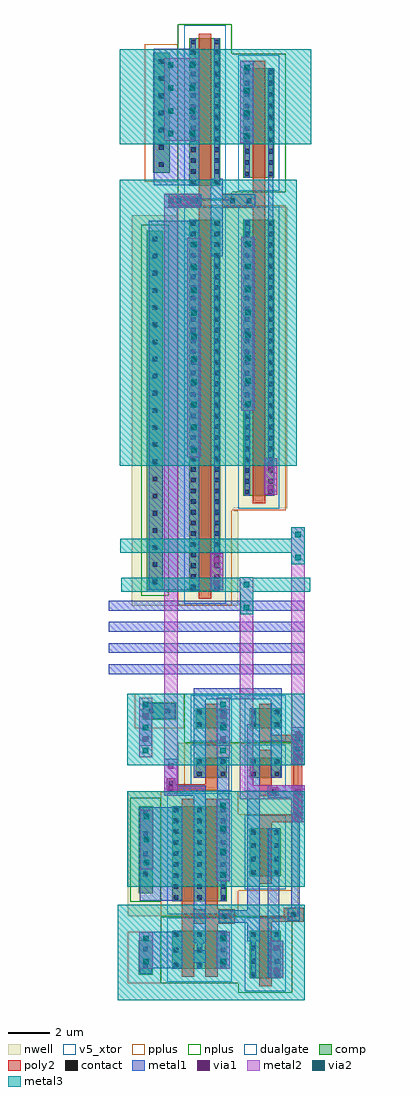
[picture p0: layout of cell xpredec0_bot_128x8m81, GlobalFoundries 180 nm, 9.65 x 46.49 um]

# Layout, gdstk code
import gdstk
lib = gdstk.Library(unit=1e-6, precision=1e-09)
def R(c, l, rs):  # rectangles x0, y0, x1, y1
    for r in rs: c.add(gdstk.rectangle(r[:2], r[2:], *l))
def A(c, l, x, y, w, h, nx, ny, dx, dy):  # array of equal rectangles
    R(c, l, [(x+i*dx, y+j*dy, x+i*dx+w, y+j*dy+h) for i in range(nx) for j in range(ny)])
def P(c, l, *ps):  # polygons
    for p in ps: c.add(gdstk.Polygon(p, *l))
nwell = (21, 0)
comp = (22, 0)
poly2 = (30, 0)
pplus = (31, 0)
nplus = (32, 0)
contact = (33, 0)
metal1 = (34, 0)
via1 = (35, 0)
metal2 = (36, 0)
via2 = (38, 0)
metal3 = (42, 0)
dualgate = (55, 0)
v5_xtor = (112, 1)

m2_m1__34864172_128x8m81 = lib.new_cell('M2_M1$$34864172_128x8m81')
R(m2_m1__34864172_128x8m81, metal1, [(-0.85,-0.33,0.85,0.335)])
R(m2_m1__34864172_128x8m81, via1, [(-0.66,-0.13,-0.4,0.13), (0.4,-0.13,0.66,0.13)])
R(m2_m1__34864172_128x8m81, metal2, [(-0.845,-0.33,0.85,0.335)])

m1_poly2__46559276_128x8 = lib.new_cell('M1_POLY2$$46559276_128x8m81_0')
R(m1_poly2__46559276_128x8, poly2, [(-0.88,-0.345,0.88,0.345)])
R(m1_poly2__46559276_128x8, contact, [(-0.505,-0.11,-0.285,0.11), (0.285,-0.11,0.505,0.11)])
R(m1_poly2__46559276_128x8, metal1, [(-0.685,-0.3,0.685,0.3)])

m3_m2__47333420_128x8m81 = lib.new_cell('M3_M2$$47333420_128x8m81')
R(m3_m2__47333420_128x8m81, metal2, [(-0.32,-1.965,0.32,1.96)])
A(m3_m2__47333420_128x8m81, via2, -0.13, -1.765, 0.26, 0.26, 1, 4, 0, 1.09)
R(m3_m2__47333420_128x8m81, metal3, [(-0.325,-1.965,0.325,1.965)])

m2_m1__43379756_128x8m81 = lib.new_cell('M2_M1$$43379756_128x8m81')
R(m2_m1__43379756_128x8m81, metal1, [(-0.32,-1.965,0.32,1.965)])
A(m2_m1__43379756_128x8m81, via1, -0.13, -1.765, 0.26, 0.26, 1, 4, 0, 1.09)
R(m2_m1__43379756_128x8m81, metal2, [(-0.32,-1.965,0.32,1.96)])

m1_poly24310590548732_12 = lib.new_cell('M1_POLY24310590548732_128x8m81')
R(m1_poly24310590548732_12, poly2, [(-0.21,-0.21,0.21,0.21)])
R(m1_poly24310590548732_12, contact, [(-0.11,-0.11,0.11,0.11)])
R(m1_poly24310590548732_12, metal1, [(-0.17,-0.17,0.17,0.17)])

nmos_5p0431059054878_128 = lib.new_cell('nmos_5p0431059054878_128x8m81')
R(nmos_5p0431059054878_128, comp, [(-0.44,0,1.04,0.96), (-0.44,0,-0.08,0.96), (0.68,0,1.04,0.96)])
R(nmos_5p0431059054878_128, poly2, [(0,-0.22,0.6,1.18), (0,0.96,0.6,1.18)])
R(nmos_5p0431059054878_128, nplus, [(-0.6,-0.23,1.2,1.19)])
R(nmos_5p0431059054878_128, contact, [(-0.37,0.07,-0.15,0.29), (0.75,0.07,0.97,0.29), (-0.37,0.67,-0.15,0.89), (0.75,0.67,0.97,0.89)])
R(nmos_5p0431059054878_128, metal1, [(-0.375,0,-0.145,0.96), (-0.375,0,-0.145,0.96), (0.745,0,0.975,0.96), (0.745,0,0.975,0.96)])
R(nmos_5p0431059054878_128, dualgate, [(-0.68,-0.62,1.28,1.58)])
R(nmos_5p0431059054878_128, v5_xtor, [(-0.68,-0.62,1.28,1.58)])
nmos_5p0431059054878_128.add(gdstk.Label('S', (-0.26,0.48), layer=34, texttype=0))
nmos_5p0431059054878_128.add(gdstk.Label('D', (0.86,0.48), layer=34, texttype=0))

m2_m1__43379756_153_128x = lib.new_cell('M2_M1$$43379756_153_128x8m81')
R(m2_m1__43379756_153_128x, metal1, [(-0.32,-1.965,0.32,1.965)])
A(m2_m1__43379756_153_128x, via1, -0.13, -1.765, 0.26, 0.26, 1, 4, 0, 1.09)
R(m2_m1__43379756_153_128x, metal2, [(-0.32,-1.965,0.32,1.965)])

pmos_5p04310590548762_12 = lib.new_cell('pmos_5p04310590548762_128x8m81')
R(pmos_5p04310590548762_12, nwell, [(-1.04,-0.6,2.76,5.14)])
A(pmos_5p04310590548762_12, comp, -0.44, 0, 0.36, 4.54, 3, 1, 1.12, 0)
R(pmos_5p04310590548762_12, comp, [(-0.44,0,2.16,4.54)])
R(pmos_5p04310590548762_12, poly2, [(0,-0.22,0.6,4.76), (1.12,-0.22,1.72,4.76), (0,4.54,0.6,4.76), (1.12,4.54,1.72,4.76)])
R(pmos_5p04310590548762_12, pplus, [(-0.6,-0.23,2.32,4.77)])
A(pmos_5p04310590548762_12, contact, -0.37, 0.07, 0.22, 0.22, 3, 5, 1.12, 0.525)
A(pmos_5p04310590548762_12, contact, -0.37, 2.69, 0.22, 0.22, 3, 4, 1.12, 0.52)
R(pmos_5p04310590548762_12, metal1, [(-0.375,0,-0.145,4.54), (-0.375,0,-0.145,4.54), (0.745,0,0.975,4.54), (0.745,0,0.975,4.54), (1.865,0,2.095,4.54), (1.865,0,2.095,4.54)])
R(pmos_5p04310590548762_12, dualgate, [(-0.68,-0.62,2.4,5.16)])
R(pmos_5p04310590548762_12, v5_xtor, [(-0.68,-0.62,2.4,5.16)])
pmos_5p04310590548762_12.add(gdstk.Label('S', (-0.26,2.27), layer=34, texttype=0))
pmos_5p04310590548762_12.add(gdstk.Label('S', (1.98,2.27), layer=34, texttype=0))
pmos_5p04310590548762_12.add(gdstk.Label('D', (0.86,2.27), layer=34, texttype=0))

pmos_1p2__47331372_128x8 = lib.new_cell('pmos_1p2$$47331372_128x8m81')
R(pmos_1p2__47331372_128x8, nwell, [(-1.43,-0.71,2.84,5.24)])
R(pmos_1p2__47331372_128x8, poly2, [(-0.15,-0.37,0.44,-0.005), (0.97,-0.37,1.56,-0.005), (-0.15,4.535,0.44,4.895), (0.97,4.535,1.56,4.895)])
R(pmos_1p2__47331372_128x8, pplus, [(-1.14,-0.685,2.55,5.22)])
pmos_1p2__47331372_128x8.add(gdstk.Reference(pmos_5p04310590548762_12, (-0.155,0)))

m2_m1__43375660_154_128x = lib.new_cell('M2_M1$$43375660_154_128x8m81')
R(m2_m1__43375660_154_128x, metal1, [(-0.315,-0.88,0.32,0.875)])
R(m2_m1__43375660_154_128x, via1, [(-0.13,-0.675,0.13,-0.415), (-0.13,0.415,0.13,0.675)])
R(m2_m1__43375660_154_128x, metal2, [(-0.315,-0.88,0.32,0.875)])

m3_m2__47108140_149_128x = lib.new_cell('M3_M2$$47108140_149_128x8m81')
R(m3_m2__47108140_149_128x, metal2, [(-0.315,-1.42,0.32,1.42)])
A(m3_m2__47108140_149_128x, via2, -0.13, -1.22, 0.26, 0.26, 1, 3, 0, 1.09)
R(m3_m2__47108140_149_128x, metal3, [(-0.325,-1.42,0.325,1.42)])

m3_m2__43368492_151_128x = lib.new_cell('M3_M2$$43368492_151_128x8m81')
R(m3_m2__43368492_151_128x, metal2, [(-0.32,-0.88,0.32,0.875)])
R(m3_m2__43368492_151_128x, via2, [(-0.13,-0.675,0.13,-0.415), (-0.13,0.415,0.13,0.675)])
R(m3_m2__43368492_151_128x, metal3, [(-0.325,-0.88,0.325,0.88)])

m1_psub__45110316_128x8m = lib.new_cell('M1_PSUB$$45110316_128x8m81')
R(m1_psub__45110316_128x8m, comp, [(-0.79,-0.415,0.795,0.41)])
R(m1_psub__45110316_128x8m, pplus, [(-1.185,-0.82,1.19,0.82)])
R(m1_psub__45110316_128x8m, contact, [(-0.505,-0.11,-0.285,0.11), (0.285,-0.11,0.505,0.11)])
P(m1_psub__45110316_128x8m, metal1, [(-0.75,-0.37),(-0.75,0.095),(-0.745,0.095),(-0.745,0.365),(0.75,0.365),(0.75,-0.37)])

m3_m2__47333420_150_128x = lib.new_cell('M3_M2$$47333420_150_128x8m81')
R(m3_m2__47333420_150_128x, metal2, [(-0.32,-1.965,0.32,1.965)])
A(m3_m2__47333420_150_128x, via2, -0.13, -1.765, 0.26, 0.26, 1, 4, 0, 1.09)
R(m3_m2__47333420_150_128x, metal3, [(-0.325,-1.965,0.325,1.965)])

m1_poly2__44753964_155_1 = lib.new_cell('M1_POLY2$$44753964_155_128x8m81')
R(m1_poly2__44753964_155_1, poly2, [(-0.48,-0.345,0.485,0.34)])
R(m1_poly2__44753964_155_1, contact, [(-0.11,-0.11,0.11,0.11)])
R(m1_poly2__44753964_155_1, metal1, [(-0.285,-0.3,0.29,0.295)])

pmos_5p04310590548714_12 = lib.new_cell('pmos_5p04310590548714_128x8m81')
R(pmos_5p04310590548714_12, nwell, [(-1.04,-0.6,1.64,2.87)])
R(pmos_5p04310590548714_12, comp, [(-0.44,0,1.04,2.27), (-0.44,0,-0.08,2.27), (0.68,0,1.04,2.27)])
R(pmos_5p04310590548714_12, poly2, [(0,-0.22,0.6,2.49), (0,2.27,0.6,2.49)])
R(pmos_5p04310590548714_12, pplus, [(-0.6,-0.23,1.2,2.5)])
A(pmos_5p04310590548714_12, contact, -0.37, 0.71, 0.22, 0.22, 1, 3, 0, 0.635)
A(pmos_5p04310590548714_12, contact, 0.75, 0.71, 0.22, 0.22, 1, 3, 0, 0.635)
R(pmos_5p04310590548714_12, contact, [(-0.37,0.07,-0.15,0.29), (0.75,0.07,0.97,0.29)])
R(pmos_5p04310590548714_12, metal1, [(-0.375,0,-0.145,2.27), (-0.375,0,-0.145,2.27), (0.745,0,0.975,2.27), (0.745,0,0.975,2.27)])
R(pmos_5p04310590548714_12, dualgate, [(-0.68,-0.62,1.28,2.89)])
R(pmos_5p04310590548714_12, v5_xtor, [(-0.68,-0.62,1.28,2.89)])
pmos_5p04310590548714_12.add(gdstk.Label('S', (-0.26,1.135), layer=34, texttype=0))
pmos_5p04310590548714_12.add(gdstk.Label('D', (0.86,1.135), layer=34, texttype=0))

pmos_1p2__46285868_160_1 = lib.new_cell('pmos_1p2$$46285868_160_128x8m81')
R(pmos_1p2__46285868_160_1, nwell, [(-1.43,-0.71,1.72,2.975)])
R(pmos_1p2__46285868_160_1, poly2, [(-0.155,-0.37,0.44,-0.005), (-0.155,2.27,0.44,2.635)])
R(pmos_1p2__46285868_160_1, pplus, [(-1.145,-0.685,1.43,2.95)])
pmos_1p2__46285868_160_1.add(gdstk.Reference(pmos_5p04310590548714_12, (-0.155,0)))

nmos_5p04310590548710_12 = lib.new_cell('nmos_5p04310590548710_128x8m81')
R(nmos_5p04310590548710_12, comp, [(-0.44,0,1.04,2.27), (-0.44,0,-0.08,2.27), (0.68,0,1.04,2.27)])
R(nmos_5p04310590548710_12, poly2, [(0,-0.22,0.6,2.49), (0,2.27,0.6,2.49)])
R(nmos_5p04310590548710_12, nplus, [(-0.6,-0.23,1.2,2.5)])
A(nmos_5p04310590548710_12, contact, -0.37, 0.71, 0.22, 0.22, 1, 3, 0, 0.635)
A(nmos_5p04310590548710_12, contact, 0.75, 0.71, 0.22, 0.22, 1, 3, 0, 0.635)
R(nmos_5p04310590548710_12, contact, [(-0.37,0.07,-0.15,0.29), (0.75,0.07,0.97,0.29)])
R(nmos_5p04310590548710_12, metal1, [(-0.375,0,-0.145,2.27), (-0.375,0,-0.145,2.27), (0.745,0,0.975,2.27), (0.745,0,0.975,2.27)])
R(nmos_5p04310590548710_12, dualgate, [(-0.68,-0.62,1.28,2.89)])
R(nmos_5p04310590548710_12, v5_xtor, [(-0.68,-0.62,1.28,2.89)])
nmos_5p04310590548710_12.add(gdstk.Label('S', (-0.26,1.135), layer=34, texttype=0))
nmos_5p04310590548710_12.add(gdstk.Label('D', (0.86,1.135), layer=34, texttype=0))

nmos_1p2__46551084_157_1 = lib.new_cell('nmos_1p2$$46551084_157_128x8m81')
R(nmos_1p2__46551084_157_1, poly2, [(-0.155,-0.37,0.44,-0.005), (-0.155,2.27,0.44,2.635)])
R(nmos_1p2__46551084_157_1, nplus, [(-1.145,-0.685,1.43,2.95)])
nmos_1p2__46551084_157_1.add(gdstk.Reference(nmos_5p04310590548710_12, (-0.155,0)))

pmos_5p04310590548741_12 = lib.new_cell('pmos_5p04310590548741_128x8m81')
R(pmos_5p04310590548741_12, nwell, [(-1.04,-0.6,1.64,1.56)])
R(pmos_5p04310590548741_12, comp, [(-0.44,0,1.04,0.96), (-0.44,0,-0.08,0.96), (0.68,0,1.04,0.96)])
R(pmos_5p04310590548741_12, poly2, [(0,-0.22,0.6,1.18), (0,0.96,0.6,1.18)])
R(pmos_5p04310590548741_12, pplus, [(-0.6,-0.23,1.2,1.19)])
R(pmos_5p04310590548741_12, contact, [(-0.37,0.07,-0.15,0.29), (0.75,0.07,0.97,0.29), (-0.37,0.67,-0.15,0.89), (0.75,0.67,0.97,0.89)])
R(pmos_5p04310590548741_12, metal1, [(-0.375,0,-0.145,0.96), (-0.375,0,-0.145,0.96), (0.745,0,0.975,0.96), (0.745,0,0.975,0.96)])
R(pmos_5p04310590548741_12, dualgate, [(-0.68,-0.62,1.28,1.58)])
R(pmos_5p04310590548741_12, v5_xtor, [(-0.68,-0.62,1.28,1.58)])
pmos_5p04310590548741_12.add(gdstk.Label('S', (-0.26,0.48), layer=34, texttype=0))
pmos_5p04310590548741_12.add(gdstk.Label('D', (0.86,0.48), layer=34, texttype=0))

pmos_1p2__47330348_161_1 = lib.new_cell('pmos_1p2$$47330348_161_128x8m81')
R(pmos_1p2__47330348_161_1, nwell, [(-1.43,-0.705,1.72,1.61)])
R(pmos_1p2__47330348_161_1, poly2, [(-0.15,-0.365,0.44,0), (-0.155,0.955,0.44,1.11)])
R(pmos_1p2__47330348_161_1, pplus, [(-1.145,-0.68,1.43,1.63)])
pmos_1p2__47330348_161_1.add(gdstk.Reference(pmos_5p04310590548741_12, (-0.155,0)))

nmos_5p04310590548763_12 = lib.new_cell('nmos_5p04310590548763_128x8m81')
A(nmos_5p04310590548763_12, comp, -0.44, 0, 0.36, 1.82, 3, 1, 1.12, 0)
R(nmos_5p04310590548763_12, comp, [(-0.44,0,2.16,1.82)])
R(nmos_5p04310590548763_12, poly2, [(0,-0.22,0.6,2.04), (1.12,-0.22,1.72,2.04), (0,1.82,0.6,2.04), (1.12,1.82,1.72,2.04)])
R(nmos_5p04310590548763_12, nplus, [(-0.6,-0.23,2.32,2.05)])
A(nmos_5p04310590548763_12, contact, -0.37, 0.07, 0.22, 0.22, 3, 3, 1.12, 0.73)
R(nmos_5p04310590548763_12, metal1, [(-0.375,0,-0.145,1.82), (-0.375,0,-0.145,1.82), (0.745,0,0.975,1.82), (0.745,0,0.975,1.82), (1.865,0,2.095,1.82), (1.865,0,2.095,1.82)])
R(nmos_5p04310590548763_12, dualgate, [(-0.68,-0.62,2.4,2.44)])
R(nmos_5p04310590548763_12, v5_xtor, [(-0.68,-0.62,2.4,2.44)])
nmos_5p04310590548763_12.add(gdstk.Label('S', (-0.26,0.91), layer=34, texttype=0))
nmos_5p04310590548763_12.add(gdstk.Label('S', (1.98,0.91), layer=34, texttype=0))
nmos_5p04310590548763_12.add(gdstk.Label('D', (0.86,0.91), layer=34, texttype=0))

nmos_1p2__47329324_128x8 = lib.new_cell('nmos_1p2$$47329324_128x8m81')
R(nmos_1p2__47329324_128x8, poly2, [(-0.15,-0.37,0.44,-0.005), (0.97,-0.37,1.56,-0.005), (-0.15,1.815,0.44,2.18), (0.965,1.815,1.56,2.155)])
R(nmos_1p2__47329324_128x8, nplus, [(-1.14,-0.685,2.55,2.495)])
nmos_1p2__47329324_128x8.add(gdstk.Reference(nmos_5p04310590548763_12, (-0.155,0)))

m2_m1__43380780_152_128x = lib.new_cell('M2_M1$$43380780_152_128x8m81')
R(m2_m1__43380780_152_128x, metal1, [(-0.315,-1.42,0.325,1.42)])
A(m2_m1__43380780_152_128x, via1, -0.13, -1.22, 0.26, 0.26, 1, 3, 0, 1.09)
R(m2_m1__43380780_152_128x, metal2, [(-0.315,-1.42,0.325,1.42)])

m1_poly24310590548739_12 = lib.new_cell('M1_POLY24310590548739_128x8m81')
R(m1_poly24310590548739_12, poly2, [(-0.21,-0.445,0.21,0.445)])
R(m1_poly24310590548739_12, contact, [(-0.11,-0.345,0.11,-0.125), (-0.11,0.125,0.11,0.345)])
R(m1_poly24310590548739_12, metal1, [(-0.17,-0.405,0.17,0.405)])

alatch_128x8m81 = lib.new_cell('alatch_128x8m81')
R(alatch_128x8m81, nwell, [(0.02,3.985,1.795,9.93)])
P(alatch_128x8m81, nwell, [(2.435,3.985),(2.435,9.93),(2.44,9.93),(2.44,12.245),(8.15,12.245),(8.15,3.985)])
R(alatch_128x8m81, comp, [(0.55,1.195,1.215,2.835), (0.55,5.075,1.215,9.23)])
R(alatch_128x8m81, poly2, [(6.28,9.72,6.88,10.435), (3.71,11.695,4.31,12.79)])
P(alatch_128x8m81, poly2, [(1.875,9.98),(1.875,10.28),(3.71,10.28),(3.71,10.635),(4.31,10.635),(4.31,9.98)],
  [(2.59,3.44),(2.59,4.54),(3.19,4.54),(3.19,4.32),(3.71,4.32),(3.71,4.54),(4.31,4.54),(4.31,4.32),(5.12,4.32),(5.12,3.635),(4.31,3.635),(4.31,3.44),(3.71,3.44),(3.71,3.635),(3.19,3.635),(3.19,3.44)],
  [(6.28,3.28),(6.28,4.015),(7.445,4.015),(7.445,4.02),(7.93,4.02),(7.93,3.715),(6.88,3.715),(6.88,3.28)],
  [(6.28,8.315),(6.28,8.81),(7.91,8.81),(7.91,12.305),(6.28,12.305),(6.28,12.94),(6.88,12.94),(6.88,12.635),(8.33,12.635),(8.33,8.465),(6.88,8.465),(6.88,8.315)])
R(alatch_128x8m81, pplus, [(0.02,0.79,1.61,3.245)])
R(alatch_128x8m81, nplus, [(0.155,4.665,1.61,9.635), (2.725,12.26,5.295,14.58), (5.295,12.26,7.865,14.58)])
A(alatch_128x8m81, contact, 0.77, 6.85, 0.22, 0.22, 1, 3, 0, 0.965)
R(alatch_128x8m81, contact, [(0.77,1.5,0.99,1.72), (0.77,2.315,0.99,2.535), (0.77,5.89,0.99,6.11)])
R(alatch_128x8m81, metal1, [(3.16,1.765,3.74,2.365), (0.595,4.735,2.62,9.185), (7.845,12.01,8.425,12.61)])
P(alatch_128x8m81, metal1, [(5.73,2.805),(5.73,3.675),(5.725,3.675),(5.725,3.68),(4.35,3.68),(4.35,4.275),(5.73,4.275),(5.73,13.14),(6.31,13.14),(6.31,2.805)],
  [(4.275,8.77),(4.275,9.58),(4.28,9.58),(4.28,11.54),(4.86,11.54),(4.86,8.77)],
  [(7.815,3.76),(7.815,4.355),(7.82,4.355),(7.82,9.63),(6.7,9.63),(6.7,10.225),(8.22,10.225),(8.22,9.245),(8.45,9.245),(8.45,8.645),(8.22,8.645),(8.22,3.76)],
  [(3.16,2.695),(3.16,9.73),(1.795,9.73),(1.795,10.195),(2.4,10.195),(2.4,10.19),(3.74,10.19),(3.74,2.695)],
  [(6.7,1.06),(6.7,8.165),(7.25,8.165),(7.25,2.365),(7.375,2.365),(7.375,1.765),(7.25,1.765),(7.25,1.06)],
  [(0.595,1.24),(0.595,1.49),(0.59,1.49),(0.59,3.245),(2.62,3.245),(2.62,1.515),(1.17,1.515),(1.17,1.24)],
  [(3.16,10.58),(3.16,14.84),(7.36,14.84),(7.36,10.58),(6.85,10.58),(6.85,14.32),(3.74,14.32),(3.74,10.58)])
R(alatch_128x8m81, metal3, [(-0.45,-0.005,8.46,4.535), (-0.005,5.39,8.46,9.93), (-0.005,11.17,8.46,14.58)])
alatch_128x8m81.add(gdstk.Reference(m1_poly24310590548732_12, (2.085,10.34)))
alatch_128x8m81.add(gdstk.Reference(m1_poly24310590548732_12, (6.985,9.93)))
alatch_128x8m81.add(gdstk.Reference(nmos_5p0431059054878_128, (6.28,13.895), x_reflection=True))
alatch_128x8m81.add(gdstk.Reference(nmos_5p0431059054878_128, (3.71,13.895), x_reflection=True))
alatch_128x8m81.add(gdstk.Reference(m2_m1__43379756_153_128x, (4.57,7.615)))
alatch_128x8m81.add(gdstk.Reference(pmos_1p2__47331372_128x8, (2.745,4.695)))
alatch_128x8m81.add(gdstk.Reference(m2_m1__43375660_154_128x, (4.57,2.37)))
alatch_128x8m81.add(gdstk.Reference(m2_m1__43375660_154_128x, (0.88,12.98)))
alatch_128x8m81.add(gdstk.Reference(m2_m1__43375660_154_128x, (4.57,12.98)))
alatch_128x8m81.add(gdstk.Reference(m2_m1__43375660_154_128x, (0.89,2.37)))
alatch_128x8m81.add(gdstk.Reference(m2_m1__43375660_154_128x, (7.105,1.94)))
alatch_128x8m81.add(gdstk.Reference(m2_m1__43375660_154_128x, (8.135,9.35)))
alatch_128x8m81.add(gdstk.Reference(m2_m1__43375660_154_128x, (8.135,12.115)))
alatch_128x8m81.add(gdstk.Reference(m3_m2__47108140_149_128x, (4.57,12.98)))
alatch_128x8m81.add(gdstk.Reference(m3_m2__47108140_149_128x, (0.88,12.98)))
alatch_128x8m81.add(gdstk.Reference(m3_m2__47108140_149_128x, (0.91,7.64)))
alatch_128x8m81.add(gdstk.Reference(m3_m2__43368492_151_128x, (0.89,2.37)))
alatch_128x8m81.add(gdstk.Reference(m3_m2__43368492_151_128x, (4.57,2.37)))
alatch_128x8m81.add(gdstk.Reference(m1_psub__45110316_128x8m, (1.535,13.76)))
alatch_128x8m81.add(gdstk.Reference(m3_m2__47333420_150_128x, (4.57,7.615)))
alatch_128x8m81.add(gdstk.Reference(m1_poly2__44753964_155_1, (7.93,4.06)))
alatch_128x8m81.add(gdstk.Reference(m1_poly2__44753964_155_1, (4.635,3.98)))
alatch_128x8m81.add(gdstk.Reference(pmos_1p2__46285868_160_1, (6.435,5.895)))
alatch_128x8m81.add(gdstk.Reference(nmos_1p2__46551084_157_1, (6.435,1.02)))
alatch_128x8m81.add(gdstk.Reference(pmos_1p2__47330348_161_1, (3.865,11.54), x_reflection=True))
alatch_128x8m81.add(gdstk.Reference(pmos_1p2__47330348_161_1, (6.435,11.54), x_reflection=True))
alatch_128x8m81.add(gdstk.Reference(nmos_1p2__47329324_128x8, (2.745,1.475)))
alatch_128x8m81.add(gdstk.Reference(m2_m1__43380780_152_128x, (0.91,7.64)))
alatch_128x8m81.add(gdstk.Reference(m1_poly24310590548739_12, (8.12,12.195)))
alatch_128x8m81.add(gdstk.Label('vss', (1.01,12.92), layer=42, texttype=10))
alatch_128x8m81.add(gdstk.Label('vss', (0.66,1.835), layer=42, texttype=10))
alatch_128x8m81.add(gdstk.Label('vdd', (0.78,7.49), layer=42, texttype=10))
alatch_128x8m81.add(gdstk.Label('enb', (8.135,12.31), layer=34, texttype=10))
alatch_128x8m81.add(gdstk.Label('en', (8.16,8.945), layer=34, texttype=10))
alatch_128x8m81.add(gdstk.Label('ab', (3.45,2.065), layer=34, texttype=10))
alatch_128x8m81.add(gdstk.Label('a', (7.08,2.065), layer=34, texttype=10))

m3_m2__43368492_128x8m81 = lib.new_cell('M3_M2$$43368492_128x8m81_0')
R(m3_m2__43368492_128x8m81, metal2, [(-0.315,-0.875,0.31,0.88)])
R(m3_m2__43368492_128x8m81, via2, [(-0.13,-0.675,0.13,-0.415), (-0.13,0.415,0.13,0.675)])
R(m3_m2__43368492_128x8m81, metal3, [(-0.315,-0.88,0.315,0.88)])

pmos_5p04310590548767_12 = lib.new_cell('pmos_5p04310590548767_128x8m81')
R(pmos_5p04310590548767_12, nwell, [(-1.04,-0.6,1.64,13.76)])
R(pmos_5p04310590548767_12, comp, [(-0.44,0,1.04,13.16), (-0.44,0,-0.08,13.16), (0.68,0,1.04,13.16)])
R(pmos_5p04310590548767_12, poly2, [(0,-0.22,0.6,13.38), (0,13.16,0.6,13.38)])
R(pmos_5p04310590548767_12, pplus, [(-0.6,-0.23,1.2,13.39)])
A(pmos_5p04310590548767_12, contact, -0.37, 0.07, 0.22, 0.22, 1, 11, 0, 0.515)
A(pmos_5p04310590548767_12, contact, 0.75, 0.07, 0.22, 0.22, 1, 11, 0, 0.515)
A(pmos_5p04310590548767_12, contact, -0.37, 5.73, 0.22, 0.22, 1, 15, 0, 0.51)
A(pmos_5p04310590548767_12, contact, 0.75, 5.73, 0.22, 0.22, 1, 15, 0, 0.51)
R(pmos_5p04310590548767_12, metal1, [(-0.375,0,-0.145,13.16), (-0.375,0,-0.145,13.16), (0.745,0,0.975,13.16), (0.745,0,0.975,13.16)])
R(pmos_5p04310590548767_12, dualgate, [(-0.68,-0.62,1.28,13.78)])
R(pmos_5p04310590548767_12, v5_xtor, [(-0.68,-0.62,1.28,13.78)])
pmos_5p04310590548767_12.add(gdstk.Label('S', (-0.26,6.58), layer=34, texttype=0))
pmos_5p04310590548767_12.add(gdstk.Label('D', (0.86,6.58), layer=34, texttype=0))

pmos_1p2__47504428_128x8 = lib.new_cell('pmos_1p2$$47504428_128x8m81')
R(pmos_1p2__47504428_128x8, nwell, [(-1.43,-0.71,1.715,-0.705)])
R(pmos_1p2__47504428_128x8, poly2, [(-0.155,-0.365,0.44,-0.005), (-0.155,13.155,0.44,13.515)])
R(pmos_1p2__47504428_128x8, pplus, [(-1.145,-0.685,1.43,13.835)])
pmos_1p2__47504428_128x8.add(gdstk.Reference(pmos_5p04310590548767_12, (-0.155,0)))

m1_psub__47335468_128x8m = lib.new_cell('M1_PSUB$$47335468_128x8m81')
R(m1_psub__47335468_128x8m, comp, [(-0.395,-2.86,0.4,2.86)])
R(m1_psub__47335468_128x8m, pplus, [(-0.79,-3.27,0.795,3.27)])
A(m1_psub__47335468_128x8m, contact, -0.11, -0.925, 0.22, 0.22, 1, 3, 0, 0.815)
R(m1_psub__47335468_128x8m, contact, [(-0.11,-2.56,0.11,-2.34), (-0.11,-1.745,0.11,-1.525), (-0.11,1.525,0.11,1.745), (-0.11,2.34,0.11,2.56)])
R(m1_psub__47335468_128x8m, metal1, [(-0.35,-2.815,0.355,2.815)])

m1_nwell__47505452_128x8 = lib.new_cell('M1_NWELL$$47505452_128x8m81')
R(m1_nwell__47505452_128x8, nwell, [(-1.105,-9.3,1.105,9.3)])
R(m1_nwell__47505452_128x8, comp, [(-0.39,-8.56,0.385,8.565)])
P(m1_nwell__47505452_128x8, nplus, [(-0.65,-8.835),(-0.65,7.49),(-0.655,7.49),(-0.655,8.835),(0.65,8.835),(0.65,-8.835)])
A(m1_nwell__47505452_128x8, contact, -0.11, -7.455, 0.22, 0.22, 1, 4, 0, 0.815)
A(m1_nwell__47505452_128x8, contact, -0.11, -4.19, 0.22, 0.22, 1, 4, 0, 0.815)
A(m1_nwell__47505452_128x8, contact, -0.11, -0.925, 0.22, 0.22, 1, 3, 0, 0.815)
A(m1_nwell__47505452_128x8, contact, -0.11, 1.525, 0.22, 0.22, 1, 4, 0, 0.815)
A(m1_nwell__47505452_128x8, contact, -0.11, 4.79, 0.22, 0.22, 1, 4, 0, 0.815)
R(m1_nwell__47505452_128x8, contact, [(-0.11,-8.275,0.11,-8.055), (-0.11,8.055,0.11,8.275)])
R(m1_nwell__47505452_128x8, metal1, [(-0.29,-8.46,0.29,8.46)])

m3_m2__47645740_128x8m81 = lib.new_cell('M3_M2$$47645740_128x8m81')
R(m3_m2__47645740_128x8m81, metal2, [(-0.32,-4.14,0.32,4.14)])
A(m3_m2__47645740_128x8m81, via2, -0.13, -1.765, 0.26, 0.26, 1, 4, 0, 1.09)
R(m3_m2__47645740_128x8m81, via2, [(-0.13,-3.94,0.13,-3.68), (-0.13,-2.85,0.13,-2.59), (-0.13,2.59,0.13,2.85), (-0.13,3.68,0.13,3.94)])
R(m3_m2__47645740_128x8m81, metal3, [(-0.325,-4.14,0.325,4.14)])

pmos_5p04310590548768_12 = lib.new_cell('pmos_5p04310590548768_128x8m81')
R(pmos_5p04310590548768_12, nwell, [(-1.04,-0.6,1.64,18.29)])
R(pmos_5p04310590548768_12, comp, [(-0.44,0,1.04,17.69), (-0.44,0,-0.08,17.69), (0.68,0,1.04,17.69)])
R(pmos_5p04310590548768_12, poly2, [(0,-0.22,0.6,17.91), (0,17.69,0.6,17.91)])
R(pmos_5p04310590548768_12, pplus, [(-0.6,-0.23,1.2,17.92)])
A(pmos_5p04310590548768_12, contact, -0.37, 0.07, 0.22, 0.22, 1, 33, 0, 0.51)
A(pmos_5p04310590548768_12, contact, 0.75, 0.07, 0.22, 0.22, 1, 33, 0, 0.51)
R(pmos_5p04310590548768_12, contact, [(-0.37,16.895,-0.15,17.115), (0.75,16.895,0.97,17.115), (-0.37,17.4,-0.15,17.62), (0.75,17.4,0.97,17.62)])
R(pmos_5p04310590548768_12, metal1, [(-0.375,0,-0.145,17.69), (-0.375,0,-0.145,17.69), (0.745,0,0.975,17.69), (0.745,0,0.975,17.69)])
R(pmos_5p04310590548768_12, dualgate, [(-0.68,-0.62,1.28,18.31)])
R(pmos_5p04310590548768_12, v5_xtor, [(-0.68,-0.62,1.28,18.31)])
pmos_5p04310590548768_12.add(gdstk.Label('S', (-0.26,8.845), layer=34, texttype=0))
pmos_5p04310590548768_12.add(gdstk.Label('D', (0.86,8.845), layer=34, texttype=0))

pmos_1p2__47503404_128x8 = lib.new_cell('pmos_1p2$$47503404_128x8m81')
R(pmos_1p2__47503404_128x8, nwell, [(-1.43,-0.705,1.72,3.83)])
R(pmos_1p2__47503404_128x8, poly2, [(-0.155,-0.365,0.44,0), (-0.155,17.69,0.44,18.05)])
R(pmos_1p2__47503404_128x8, pplus, [(-1.145,-0.68,1.43,18.37)])
pmos_1p2__47503404_128x8.add(gdstk.Reference(pmos_5p04310590548768_12, (-0.155,0)))

nmos_5p04310590548769_12 = lib.new_cell('nmos_5p04310590548769_128x8m81')
R(nmos_5p04310590548769_12, comp, [(-0.44,0,1.04,5.22), (-0.44,0,-0.08,5.22), (0.68,0,1.04,5.22)])
R(nmos_5p04310590548769_12, poly2, [(0,-0.22,0.6,5.44), (0,5.22,0.6,5.44)])
R(nmos_5p04310590548769_12, nplus, [(-0.6,-0.23,1.2,5.45)])
A(nmos_5p04310590548769_12, contact, -0.37, 0.07, 0.22, 0.22, 1, 10, 0, 0.54)
A(nmos_5p04310590548769_12, contact, 0.75, 0.07, 0.22, 0.22, 1, 10, 0, 0.54)
R(nmos_5p04310590548769_12, metal1, [(-0.375,0,-0.145,5.22), (-0.375,0,-0.145,5.22), (0.745,0,0.975,5.22), (0.745,0,0.975,5.22)])
R(nmos_5p04310590548769_12, dualgate, [(-0.68,-0.62,1.28,5.84)])
R(nmos_5p04310590548769_12, v5_xtor, [(-0.68,-0.62,1.28,5.84)])
nmos_5p04310590548769_12.add(gdstk.Label('S', (-0.26,2.61), layer=34, texttype=0))
nmos_5p04310590548769_12.add(gdstk.Label('D', (0.86,2.61), layer=34, texttype=0))

nmos_1p2__47502380_128x8 = lib.new_cell('nmos_1p2$$47502380_128x8m81')
R(nmos_1p2__47502380_128x8, poly2, [(-0.155,-0.37,0.44,-0.005), (-0.155,5.22,0.44,5.58)])
R(nmos_1p2__47502380_128x8, nplus, [(-1.145,-0.685,1.43,5.9)])
nmos_1p2__47502380_128x8.add(gdstk.Reference(nmos_5p04310590548769_12, (-0.155,0)))

m3_m2__47644716_128x8m81 = lib.new_cell('M3_M2$$47644716_128x8m81')
R(m3_m2__47644716_128x8m81, metal2, [(-0.32,-5.23,0.32,5.225)])
A(m3_m2__47644716_128x8m81, via2, -0.13, -1.765, 0.26, 0.26, 1, 4, 0, 1.09)
R(m3_m2__47644716_128x8m81, via2, [(-0.13,-5.025,0.13,-4.765), (-0.13,-3.94,0.13,-3.68), (-0.13,-2.85,0.13,-2.59), (-0.13,2.59,0.13,2.85), (-0.13,3.68,0.13,3.94), (-0.13,4.765,0.13,5.025)])
R(m3_m2__47644716_128x8m81, metal3, [(-0.325,-5.23,0.325,5.23)])

m2_m1__43376684_128x8m81 = lib.new_cell('M2_M1$$43376684_128x8m81')
R(m2_m1__43376684_128x8m81, metal1, [(-0.315,-4.14,0.32,4.14)])
A(m2_m1__43376684_128x8m81, via1, -0.13, -1.765, 0.26, 0.26, 1, 4, 0, 1.09)
R(m2_m1__43376684_128x8m81, via1, [(-0.13,-3.94,0.13,-3.68), (-0.13,-2.85,0.13,-2.59), (-0.13,2.59,0.13,2.85), (-0.13,3.68,0.13,3.94)])
R(m2_m1__43376684_128x8m81, metal2, [(-0.315,-4.14,0.32,4.14)])

m2_m1__47500332_128x8m81 = lib.new_cell('M2_M1$$47500332_128x8m81')
P(m2_m1__47500332_128x8m81, metal1, [(-0.32,-5.23),(-0.32,5.23),(0.275,5.23),(0.275,5.225),(0.32,5.225),(0.32,-5.23)])
A(m2_m1__47500332_128x8m81, via1, -0.13, -1.765, 0.26, 0.26, 1, 4, 0, 1.09)
R(m2_m1__47500332_128x8m81, via1, [(-0.13,-5.025,0.13,-4.765), (-0.13,-3.94,0.13,-3.68), (-0.13,-2.85,0.13,-2.59), (-0.13,2.59,0.13,2.85), (-0.13,3.68,0.13,3.94), (-0.13,4.765,0.13,5.025)])
R(m2_m1__47500332_128x8m81, metal2, [(-0.32,-5.23,0.32,5.225)])

nmos_5p04310590548770_12 = lib.new_cell('nmos_5p04310590548770_128x8m81')
R(nmos_5p04310590548770_12, comp, [(-0.44,0,1.04,7.04), (-0.44,0,-0.08,7.04), (0.68,0,1.04,7.04)])
R(nmos_5p04310590548770_12, poly2, [(0,-0.22,0.6,7.26), (0,7.04,0.6,7.26)])
R(nmos_5p04310590548770_12, nplus, [(-0.6,-0.23,1.2,7.27)])
A(nmos_5p04310590548770_12, contact, -0.37, 0.07, 0.22, 0.22, 1, 11, 0, 0.515)
A(nmos_5p04310590548770_12, contact, 0.75, 0.07, 0.22, 0.22, 1, 11, 0, 0.515)
A(nmos_5p04310590548770_12, contact, -0.37, 5.73, 0.22, 0.22, 1, 3, 0, 0.51)
A(nmos_5p04310590548770_12, contact, 0.75, 5.73, 0.22, 0.22, 1, 3, 0, 0.51)
R(nmos_5p04310590548770_12, metal1, [(-0.375,0,-0.145,7.04), (-0.375,0,-0.145,7.04), (0.745,0,0.975,7.04), (0.745,0,0.975,7.04)])
R(nmos_5p04310590548770_12, dualgate, [(-0.68,-0.62,1.28,7.66)])
R(nmos_5p04310590548770_12, v5_xtor, [(-0.68,-0.62,1.28,7.66)])
nmos_5p04310590548770_12.add(gdstk.Label('S', (-0.26,3.52), layer=34, texttype=0))
nmos_5p04310590548770_12.add(gdstk.Label('D', (0.86,3.52), layer=34, texttype=0))

m2_m1__43375660_128x8m81 = lib.new_cell('M2_M1$$43375660_128x8m81')
R(m2_m1__43375660_128x8m81, metal1, [(-0.31,-0.875,0.31,0.875)])
R(m2_m1__43375660_128x8m81, via1, [(-0.13,-0.675,0.13,-0.415), (-0.13,0.415,0.13,0.675)])
R(m2_m1__43375660_128x8m81, metal2, [(-0.31,-0.875,0.31,0.875)])

xpredec0_bot_128x8m81 = lib.new_cell('xpredec0_bot_128x8m81')
P(xpredec0_bot_128x8m81, poly2, [(3.755,34.1),(3.755,34.565),(3.75,34.565),(3.75,35.255),(3.755,35.255),(3.755,35.46),(4.355,35.46),(4.355,34.1)],
  [(6.325,29.785),(6.325,34.565),(6.32,34.565),(6.32,35.255),(6.325,35.255),(6.325,35.835),(6.925,35.835),(6.925,29.785)])
R(xpredec0_bot_128x8m81, nplus, [(2.765,34.93,5.34,43.33)])
A(xpredec0_bot_128x8m81, metal1, -0.53, 12.36, 9.33, 0.465, 1, 3, 0, 1.01)
R(xpredec0_bot_128x8m81, metal1, [(-0.53,15.39,8.8,15.85), (1.38,16.365,3.78,33.965), (7.07,27.425,7.3,36.54), (1.62,35.655,3.78,42.15)])
P(xpredec0_bot_128x8m81, metal1, [(4.325,32.275),(4.325,35.96),(4.9,35.96),(4.9,35.21),(6.44,35.21),(6.44,34.61),(4.9,34.61),(4.9,32.275)])
R(xpredec0_bot_128x8m81, metal2, [(2.105,6.795,2.75,35.245), (8.165,8.075,8.81,18.265), (2.105,37.775,3.78,41.705)])
P(xpredec0_bot_128x8m81, metal2, [(5.715,6.4),(5.715,16.96),(6.36,16.96),(6.36,7.065),(8.81,7.065),(8.81,6.4)])
R(xpredec0_bot_128x8m81, metal3, [(0.075,16.295,9.075,16.96), (0.03,18.13,8.81,18.8), (-0.005,22.29,8.425,35.905), (-0.005,37.595,9.12,42.135)])
xpredec0_bot_128x8m81.add(gdstk.Reference(m2_m1__34864172_128x8m81, (2.955,34.91)))
xpredec0_bot_128x8m81.add(gdstk.Reference(m1_poly2__46559276_128x8, (3.205,34.91)))
xpredec0_bot_128x8m81.add(gdstk.Reference(m1_poly2__46559276_128x8, (5.755,34.91)))
xpredec0_bot_128x8m81.add(gdstk.Reference(m3_m2__47333420_128x8m81, (6.06,39.625)))
xpredec0_bot_128x8m81.add(gdstk.Reference(m3_m2__47333420_128x8m81, (3.46,39.74)))
xpredec0_bot_128x8m81.add(gdstk.Reference(m3_m2__47333420_128x8m81, (2.425,39.74)))
xpredec0_bot_128x8m81.add(gdstk.Reference(m2_m1__43379756_128x8m81, (6.06,39.625)))
xpredec0_bot_128x8m81.add(gdstk.Reference(m2_m1__43379756_128x8m81, (3.46,39.74)))
xpredec0_bot_128x8m81.add(gdstk.Reference(m2_m1__43379756_128x8m81, (2.425,39.74)))
xpredec0_bot_128x8m81.add(gdstk.Reference(alatch_128x8m81, (0.35,-3.16)))
xpredec0_bot_128x8m81.add(gdstk.Reference(m3_m2__43368492_128x8m81, (6.04,16.085)))
xpredec0_bot_128x8m81.add(gdstk.Reference(m3_m2__43368492_128x8m81, (8.49,18.465)))
xpredec0_bot_128x8m81.add(gdstk.Reference(pmos_1p2__47504428_128x8, (6.48,20.855)))
xpredec0_bot_128x8m81.add(gdstk.Reference(m1_psub__47335468_128x8m, (1.975,39.095)))
xpredec0_bot_128x8m81.add(gdstk.Reference(m1_nwell__47505452_128x8, (1.67,24.925)))
xpredec0_bot_128x8m81.add(gdstk.Reference(m3_m2__47645740_128x8m81, (6.095,29.05)))
xpredec0_bot_128x8m81.add(gdstk.Reference(pmos_1p2__47503404_128x8, (3.91,16.32)))
xpredec0_bot_128x8m81.add(gdstk.Reference(nmos_1p2__47502380_128x8, (6.48,36.01)))
xpredec0_bot_128x8m81.add(gdstk.Reference(m3_m2__47644716_128x8m81, (3.525,27.92)))
xpredec0_bot_128x8m81.add(gdstk.Reference(m2_m1__43376684_128x8m81, (6.095,29.05)))
xpredec0_bot_128x8m81.add(gdstk.Reference(m2_m1__47500332_128x8m81, (3.525,27.92)))
xpredec0_bot_128x8m81.add(gdstk.Reference(nmos_5p04310590548770_12, (3.755,35.615)))
xpredec0_bot_128x8m81.add(gdstk.Reference(m2_m1__43375660_128x8m81, (7.18,21.775)))
xpredec0_bot_128x8m81.add(gdstk.Reference(m2_m1__43375660_128x8m81, (4.61,17.24)))
xpredec0_bot_128x8m81.add(gdstk.Reference(m2_m1__43375660_128x8m81, (2.425,7.445)))

lib.write_gds('xpredec0_bot_128x8m81.gds')
